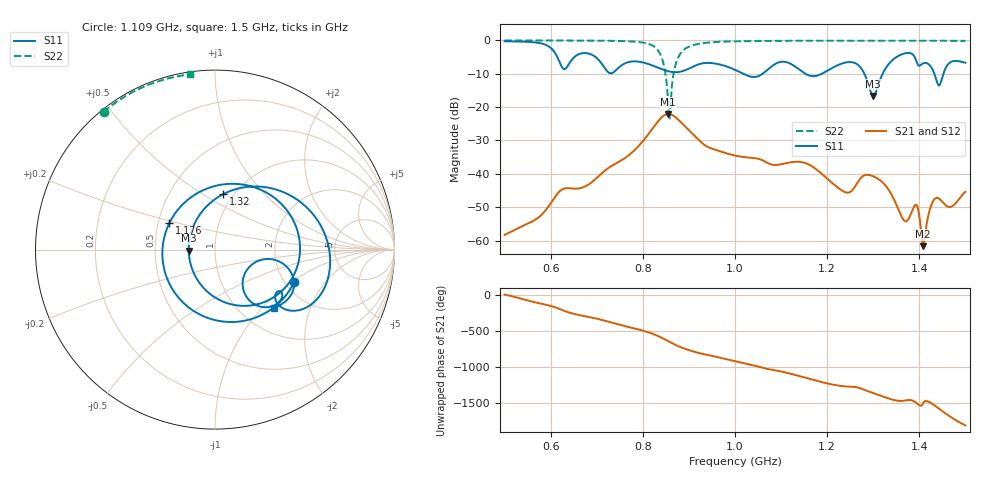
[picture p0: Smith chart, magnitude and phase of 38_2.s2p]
! TOUCHSTONE file generated by CST MICROWAVE STUDIO
! Date and time: Thu Feb 18 07:37:37 2021
! Project name: Scenario_1_Planar_Body_Tissue_Out_of_Line.cst
! Parameters = {L_HA=400; Ltissue=1000; MT=2.54; Rad_Dielectric=30; Rad_Lower=7.3; Rad_Upper=30; Wtissue=1000; a_HA=580; a_WG=246; b_HA=500; b_WG=121; c_HA=0; c_WG=187; d_feed=85; dx1=346; dy1=294.1; h_feed=15; h_lower=18; h_upper=40; hfat=3; hgap=25; hmuscle=50; hskin=1.5}
! Header version: 2018
! Port assignment regex: !\s*Touchstone port\s*([0-9]+)\s*=\s*(CST MWS port|CST DS port)\s*([0-9]+|Zmin|Zmax)\s*\(\"(.*)\"\)(\s*mode\s*([0-9]+))?.*
! Touchstone port assignment:
! Touchstone port 1 = CST MWS port 1 ("")
! Touchstone port 2 = CST MWS port 2 ("")
# GHz S DB R 50
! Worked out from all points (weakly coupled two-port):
!   1003 points, 500 MHz to 1.5 GHz, reference 50 ohm
!   highest |S21| = -22.03 dB at 855 MHz (marker M1); lowest = -61.7 dB at 1.408 GHz (marker M2)
!   lowest |S11| = -16.7 dB at 1.3 GHz (marker M3), VSWR 1.34, Z = 37.2 - j0.427 ohm
!   |S11| at or under -10 dB: 1.018 GHz to 1.06 GHz (41.82 MHz wide, 4.03 % of centre); 1.153 GHz to 1.188 GHz (35.3 MHz wide, 3.02 % of centre); 1.281 GHz to 1.32 GHz (39.56 MHz wide, 3.04 % of centre) (the widest 3 of 4)
!   |S22| runs from -23.7 to 0.0 dB; largest |S21 - S12| = 4.8e-06
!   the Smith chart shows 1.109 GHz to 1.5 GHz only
!   S11 on the Smith chart (normalised r, x): 1.109 GHz: 2.23, -1.05; 1.176 GHz: 0.57, +0.18; 1.32 GHz: 0.90, +0.61; 1.5 GHz: 1.41, -1.17
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0.5  -0.26 -121.7  -58.28 4.2  -58.28 4.2  -0.01 151.1
0.667  -3.88 158.4  -44.19 71.8  -44.19 71.8  -0.04 138.4
0.718  -8.40 26.1  -38.99 -1.4  -38.99 -1.4  -0.09 132.6
0.742  -8.88 -96.1  -36.87 -44.1  -36.87 -44.1  -0.14 128.9
0.771  -6.42 176.0  -34.25 -90.1  -34.25 -90.1  -0.27 122.9
0.834  -8.22 39.5  -24.10 143.9  -24.10 143.9  -3.22 83.0
0.855  -9.23 -14.0  -22.03 75.0  -22.03 75.0  -18.84 13.6
0.908  -7.91 -177.3  -28.06 -65.2  -28.06 -65.2  -1.46 163.3
0.939  -6.74 85.2  -31.81 -114.5  -31.81 -114.5  -0.69 151.9
1  -8.81 -62.0  -34.51 158.4  -34.51 158.4  -0.27 140.2
1.043  -10.96 -177.3  -35.30 93.8  -35.30 93.8  -0.19 135.2
1.075  -8.29 78.8  -37.02 43.6  -37.02 43.6  -0.14 132.1
1.109  -6.44 -22.5  -36.86 0.4  -36.86 0.4  -0.11 129.0
1.167  -10.70 175.3  -37.74 -100.0  -37.74 -100.0  -0.10 124.2
1.176  -10.63 150.1  -38.60 -115.2  -38.60 -115.2  -0.10 123.5
1.249  -6.48 2.8  -45.51 163.2  -45.51 163.2  -0.09 117.9
1.3  -16.68 -177.8  -40.74 72.2  -40.74 72.2  -0.08 114.1
1.32  -10.11 81.6  -42.53 27.2  -42.52 27.2  -0.08 112.6
1.334  -7.01 51.2  -44.91 -3.5  -44.91 -3.5  -0.08 111.5
1.408  -6.88 -34.1  -61.69 -73.8  -61.69 -73.8  -0.10 105.8
1.433  -10.18 -56.3  -47.56 -98.1  -47.56 -98.1  -0.10 103.7
1.5  -6.68 -44.9  -45.38 -17.8  -45.38 -17.8  -0.13 98.0
